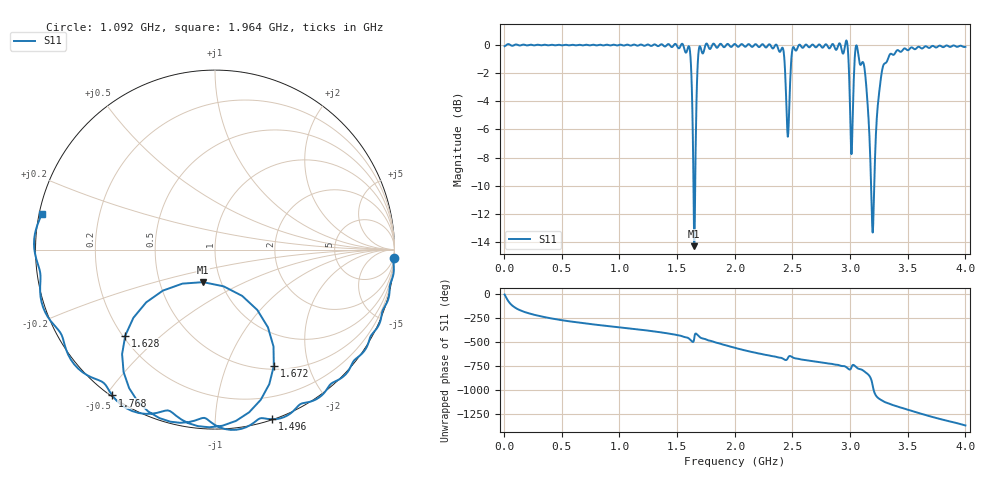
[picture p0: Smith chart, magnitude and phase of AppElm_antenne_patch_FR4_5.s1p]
! TOUCHSTONE file generated by CST MICROWAVE STUDIO
! Date and time: Tue Jun  7 20:03:44 2022
! Project name: AppElm_antenne_patch_FR4.cst
! Parameters = {L=42.75; W=58.5; e=0.035; h=1.6; lambda=0.190476; ls=120; w0=1.6; w1=0.533333; ws=120; y0=20; y1=23.8095}
! Header version: 2018
! Port assignment regex: !\s*Touchstone port\s*([0-9]+)\s*=\s*(CST MWS port|CST DS port)\s*([0-9]+|Zmin|Zmax)\s*\(\"(.*)\"\)(\s*mode\s*([0-9]+))?.*
! Touchstone port assignment:
! Touchstone port 1 = CST MWS port 1 ("")
# GHz S MA R 50
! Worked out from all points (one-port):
!   1000 points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, 4 MHz to 4 GHz, reference 50 ohm
!   lowest |S11| = -14.3 dB at 1.648 GHz (marker M1), VSWR 1.48, Z = 41.2 - j15.5 ohm
!   |S11| at or under -10 dB: 1.642 GHz to 1.657 GHz (14.88 MHz wide, 0.902 % of centre); 3.182 GHz to 3.21 GHz (27.41 MHz wide, 0.858 % of centre)
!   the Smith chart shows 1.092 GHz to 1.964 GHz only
!   S11 on the Smith chart (normalised r, x): 1.092 GHz: 3, -41; 1.496 GHz: 0.00, -1.39; 1.628 GHz: 0.21, -0.39; 1.672 GHz: 0.54, -1.49; 1.768 GHz: 0.00, -0.52; 1.964 GHz: 0.01, +0.10
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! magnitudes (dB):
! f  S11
! 4 MHz  -0.1
! 504 MHz  0.0
! 1.004 GHz  0.0
! 1.092 GHz  0.0
! 1.496 GHz  0.0
! 1.504 GHz  -0.1
! 1.604 GHz  -0.1
! 1.628 GHz  -3.2
! 1.648 GHz  -14.3
! 1.672 GHz  -2.8
! 1.696 GHz  -0.1
! 1.768 GHz  -0.1
! 1.964 GHz  -0.1
! 2.004 GHz  0.1
! 2.408 GHz  -0.2
! 2.46 GHz  -6.5
! 2.504 GHz  -0.2
! 2.964 GHz  0.3
! 3.004 GHz  -6.0
! 3.02 GHz  -6.1
! 3.056 GHz  0.0
! 3.116 GHz  -1.3
! 3.148 GHz  -3.7
! 3.196 GHz  -13.3
! 3.244 GHz  -4.0
! 3.284 GHz  -1.6
! 3.504 GHz  -0.4
! 4 GHz  -0.1
